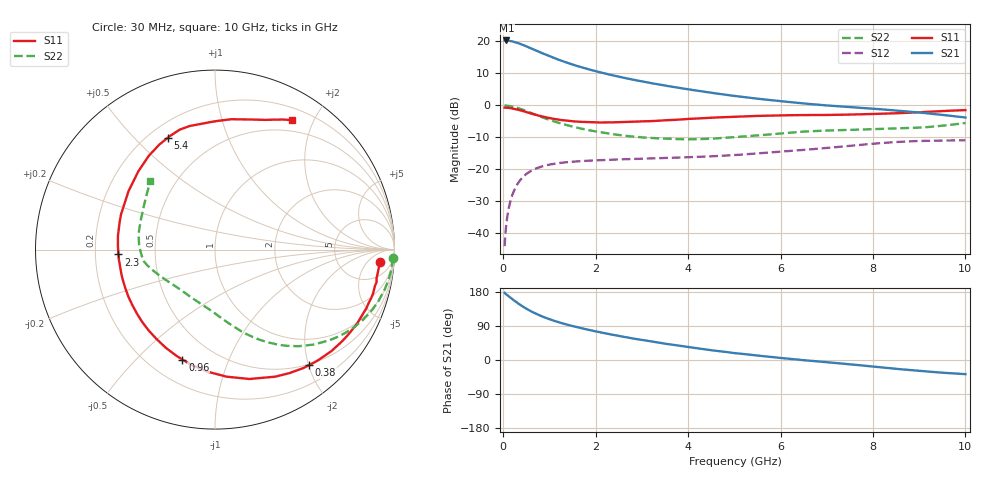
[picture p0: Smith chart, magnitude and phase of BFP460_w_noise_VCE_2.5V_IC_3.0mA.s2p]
! (c) 2016  Infineon Technologies AG, Munich
! Infineon Technologies  Discrete & RF Semiconductors
! BFP460
! VCE =  2.5 V,  IC =  3.0 mA
! Common Emitter S-Parameters:  Jan 2016
# GHz  S  MA  R  50
!  f  S11  S21  S12  S22
! GHz  MAG  ANG  MAG  ANG  MAG  ANG  MAG  ANG
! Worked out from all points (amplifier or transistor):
!   229 points, 30 MHz to 10 GHz, reference 50 ohm
!   highest |S21| = 20.3 dB at 70 MHz (marker M1)
!   |S21| within 3 dB of that: start of sweep to 687.7 MHz
!   unconditionally stable (mu >= 1): 3.554 GHz to 7.922 GHz
!   at 280 MHz: K = 0.11, MSG = 22.5 dB, |S12| = -25.4 dB
!   at 1.78 GHz: K = 0.61, MSG = 14.5 dB, |S12| = -17.4 dB
!   at 10 GHz: K = 0.94, MSG = 3.6 dB, |S12| = -11.0 dB
!   lowest NFmin = 0.71 dB at 450 MHz
!   S11 on the Smith chart (normalised r, x): 30 MHz: 13, -12; 380 MHz: 0.49, -2.01; 960 MHz: 0.33, -0.69; 2.3 GHz: 0.30, -0.02; 5.4 GHz: 0.27, +0.63; 10 GHz: 0.35, +1.71
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0.03  0.9197 -4.3  10.35 177.3  0.0062 86.9  0.9927 -2.8
0.05  0.9175 -7.0  10.29 174.4  0.0103 85.9  0.991 -4.4
0.07  0.9142 -10.0  10.36 172.5  0.0144 84.2  0.9888 -6.2
0.14  0.9059 -19.6  10.2 166.0  0.0285 78.5  0.974 -12.3
0.26  0.8729 -35.9  9.723 154.7  0.0503 69.4  0.9313 -22.2
0.38  0.83 -50.8  9.089 144.6  0.0688 61.3  0.8731 -31.0
0.46  0.7987 -60.1  8.628 138.3  0.0792 56.7  0.8322 -36.2
0.6  0.746 -75.1  7.819 128.6  0.0937 49.6  0.7603 -44.2
0.8  0.6809 -93.7  6.751 117.0  0.1081 41.7  0.6667 -53.5
0.96  0.6387 -106.5  6.046 109.5  0.1158 37.0  0.6046 -59.3
1.1  0.6116 -116.7  5.504 103.5  0.1211 33.6  0.559 -63.8
1.3  0.5823 -129.6  4.864 96.0  0.1266 29.8  0.5056 -69.2
1.7  0.5493 -151.3  3.923 83.6  0.1336 24.8  0.4289 -77.9
2.3  0.5386 -177.1  3.024 68.3  0.1401 20.4  0.3591 -89.3
2.8  0.5518 165.4  2.525 56.9  0.1441 18.4  0.3234 -99.5
3.4  0.5747 148.5  2.095 45.2  0.1485 17.3  0.302 -111.9
4  0.6105 134.4  1.778 34.1  0.1534 16.8  0.293 -125.2
5.1  0.6657 116.5  1.373 17.1  0.1675 17.7  0.3205 -147.7
5.4  0.6766 112.8  1.292 13.1  0.1738 17.8  0.3324 -152.1
6.8  0.7034 98.4  1.022 -3.6  0.2082 15.8  0.3959 -169.2
8.4  0.7448 76.9  0.839 -22.1  0.2626 7.5  0.4321 170.1
10  0.8404 59.1  0.643 -37.3  0.2826 -4.1  0.5267 133.1
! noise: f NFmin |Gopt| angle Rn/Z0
0.45  0.71  0.48  19  0.2
0.9  0.75  0.46  37  0.21
1.9  1.09  0.27  93  0.15
3.5  1.43  0.36  -162  0.1
